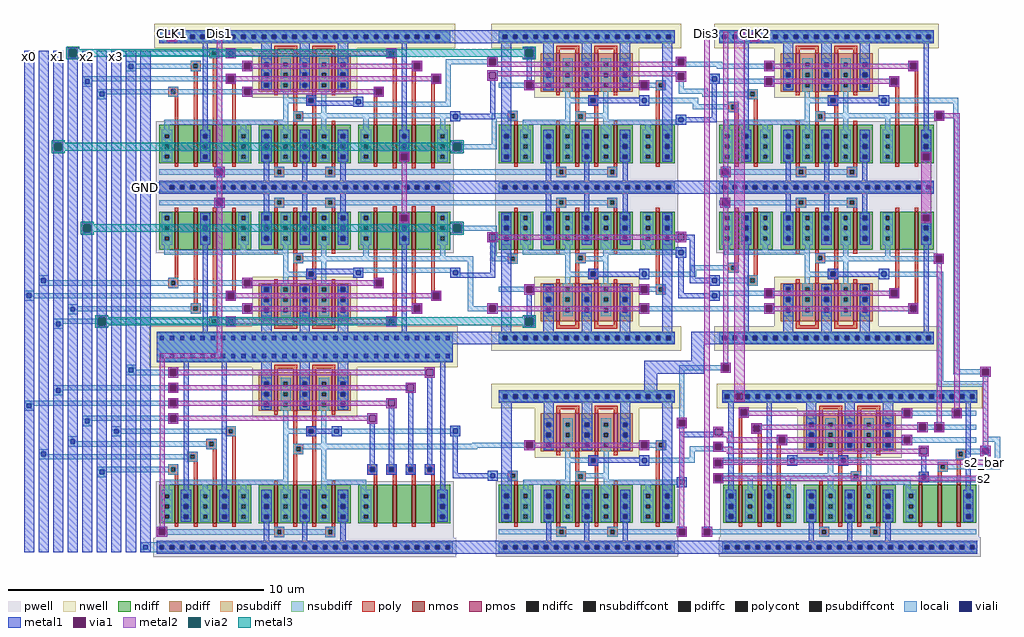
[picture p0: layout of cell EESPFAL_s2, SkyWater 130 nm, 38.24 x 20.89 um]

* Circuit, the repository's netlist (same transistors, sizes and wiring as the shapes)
* NGSPICE file created from EESPFAL_s2.ext - technology: sky130A

.subckt EESPFAL_4in_NAND OUT A A_bar B B_bar C C_bar D D_bar Dis OUT_bar GND CLK
X0 OUT_bar Dis GND GND sky130_fd_pr__nfet_01v8 ad=3.6e+12p pd=1.68e+07u as=2.7e+12p ps=1.26e+07u w=1.5e+06u l=150000u
X1 CLK B_bar OUT_bar GND sky130_fd_pr__nfet_01v8 ad=8.5e+12p pd=3.68e+07u as=0p ps=0u w=1.5e+06u l=150000u
X2 a_n1040_180# B a_n1190_180# GND sky130_fd_pr__nfet_01v8 ad=9e+11p pd=4.2e+06u as=9e+11p ps=4.2e+06u w=1.5e+06u l=150000u
X3 OUT_bar OUT CLK CLK sky130_fd_pr__pfet_01v8 ad=9e+11p pd=4.2e+06u as=2.7e+12p ps=1.26e+07u w=1.5e+06u l=150000u M=2
X4 CLK D_bar OUT_bar GND sky130_fd_pr__nfet_01v8 ad=0p pd=0u as=0p ps=0u w=1.5e+06u l=150000u
X5 OUT OUT_bar GND GND sky130_fd_pr__nfet_01v8 ad=1.8e+12p pd=8.4e+06u as=0p ps=0u w=1.5e+06u l=150000u
X6 a_n1340_180# D OUT GND sky130_fd_pr__nfet_01v8 ad=9e+11p pd=4.2e+06u as=0p ps=0u w=1.5e+06u l=150000u
X7 OUT_bar A_bar CLK GND sky130_fd_pr__nfet_01v8 ad=0p pd=0u as=0p ps=0u w=1.5e+06u l=150000u
X8 OUT_bar C_bar CLK GND sky130_fd_pr__nfet_01v8 ad=0p pd=0u as=0p ps=0u w=1.5e+06u l=150000u
X9 GND Dis OUT GND sky130_fd_pr__nfet_01v8 ad=0p pd=0u as=0p ps=0u w=1.5e+06u l=150000u
X10 OUT OUT_bar CLK CLK sky130_fd_pr__pfet_01v8 ad=9e+11p pd=4.2e+06u as=0p ps=0u w=1.5e+06u l=150000u M=2
X11 GND OUT OUT_bar GND sky130_fd_pr__nfet_01v8 ad=0p pd=0u as=0p ps=0u w=1.5e+06u l=150000u
X12 CLK A a_n1040_180# GND sky130_fd_pr__nfet_01v8 ad=0p pd=0u as=0p ps=0u w=1.5e+06u l=150000u
X13 a_n1190_180# C a_n1340_180# GND sky130_fd_pr__nfet_01v8 ad=0p pd=0u as=0p ps=0u w=1.5e+06u l=150000u
.ends

.subckt EESPFAL_INV4 OUT_bar A A_bar Dis OUT GND CLK
X0 OUT A_bar CLK GND sky130_fd_pr__nfet_01v8 ad=1.8e+12p pd=8.4e+06u as=5.25e+12p ps=2.32e+07u w=1.5e+06u l=150000u
X1 CLK OUT OUT_bar CLK sky130_fd_pr__pfet_01v8 ad=2.7e+12p pd=1.26e+07u as=9e+11p ps=4.2e+06u w=1.5e+06u l=150000u M=2
X2 GND Dis OUT_bar GND sky130_fd_pr__nfet_01v8 ad=2.7e+12p pd=1.26e+07u as=1.8e+12p ps=8.4e+06u w=1.5e+06u l=150000u
X3 GND OUT_bar OUT GND sky130_fd_pr__nfet_01v8 ad=0p pd=0u as=0p ps=0u w=1.5e+06u l=150000u
X4 CLK OUT_bar OUT CLK sky130_fd_pr__pfet_01v8 ad=0p pd=0u as=9e+11p ps=4.2e+06u w=1.5e+06u l=150000u M=2
X5 OUT_bar OUT GND GND sky130_fd_pr__nfet_01v8 ad=0p pd=0u as=0p ps=0u w=1.5e+06u l=150000u
X6 CLK A OUT_bar GND sky130_fd_pr__nfet_01v8 ad=0p pd=0u as=0p ps=0u w=1.5e+06u l=150000u
X7 OUT Dis GND GND sky130_fd_pr__nfet_01v8 ad=0p pd=0u as=0p ps=0u w=1.5e+06u l=150000u
.ends

.subckt EESPFAL_XOR_v3 OUT A A_bar B B_bar Dis OUT_bar GND CLK
X0 CLK OUT OUT_bar CLK sky130_fd_pr__pfet_01v8 ad=2.7e+12p pd=1.26e+07u as=9e+11p ps=4.2e+06u w=1.5e+06u l=150000u M=2
X1 OUT_bar Dis GND GND sky130_fd_pr__nfet_01v8 ad=2.7e+12p pd=1.26e+07u as=2.7e+12p ps=1.26e+07u w=1.5e+06u l=150000u
X2 a_n840_410# A CLK GND sky130_fd_pr__nfet_01v8 ad=9e+11p pd=4.2e+06u as=7.5e+12p ps=3.22e+07u w=1.5e+06u l=150000u
X3 a_n1140_410# B_bar OUT_bar GND sky130_fd_pr__nfet_01v8 ad=9e+11p pd=4.2e+06u as=0p ps=0u w=1.5e+06u l=150000u
X4 a_420_410# B_bar OUT GND sky130_fd_pr__nfet_01v8 ad=9e+11p pd=4.2e+06u as=2.7e+12p ps=1.26e+07u w=1.5e+06u l=150000u
X5 GND Dis OUT GND sky130_fd_pr__nfet_01v8 ad=0p pd=0u as=0p ps=0u w=1.5e+06u l=150000u
X6 OUT OUT_bar CLK CLK sky130_fd_pr__pfet_01v8 ad=9e+11p pd=4.2e+06u as=0p ps=0u w=1.5e+06u l=150000u M=2
X7 a_720_410# A_bar CLK GND sky130_fd_pr__nfet_01v8 ad=9e+11p pd=4.2e+06u as=0p ps=0u w=1.5e+06u l=150000u
X8 OUT_bar B a_n840_410# GND sky130_fd_pr__nfet_01v8 ad=0p pd=0u as=0p ps=0u w=1.5e+06u l=150000u
X9 GND OUT OUT_bar GND sky130_fd_pr__nfet_01v8 ad=0p pd=0u as=0p ps=0u w=1.5e+06u l=150000u
X10 CLK A_bar a_n1140_410# GND sky130_fd_pr__nfet_01v8 ad=0p pd=0u as=0p ps=0u w=1.5e+06u l=150000u
X11 OUT OUT_bar GND GND sky130_fd_pr__nfet_01v8 ad=0p pd=0u as=0p ps=0u w=1.5e+06u l=150000u
X12 CLK A a_420_410# GND sky130_fd_pr__nfet_01v8 ad=0p pd=0u as=0p ps=0u w=1.5e+06u l=150000u
X13 OUT B a_720_410# GND sky130_fd_pr__nfet_01v8 ad=0p pd=0u as=0p ps=0u w=1.5e+06u l=150000u
.ends

.subckt EESPFAL_3in_NOR_v2 OUT A A_bar B B_bar C C_bar Dis OUT_bar GND CLK
X0 CLK OUT_bar OUT CLK sky130_fd_pr__pfet_01v8 ad=2.7e+12p pd=1.26e+07u as=9e+11p ps=4.2e+06u w=1.5e+06u l=150000u M=2
X1 OUT B CLK GND sky130_fd_pr__nfet_01v8 ad=2.7e+12p pd=1.26e+07u as=7.7e+12p ps=3.36e+07u w=1.5e+06u l=150000u
X2 OUT_bar OUT CLK CLK sky130_fd_pr__pfet_01v8 ad=9e+11p pd=4.2e+06u as=0p ps=0u w=1.5e+06u l=150000u M=2
X3 a_n1990_570# B_bar a_n2140_570# GND sky130_fd_pr__nfet_01v8 ad=9e+11p pd=4.2e+06u as=9e+11p ps=4.2e+06u w=1.5e+06u l=150000u
X4 CLK A OUT GND sky130_fd_pr__nfet_01v8 ad=0p pd=0u as=0p ps=0u w=1.5e+06u l=150000u
X5 OUT OUT_bar GND GND sky130_fd_pr__nfet_01v8 ad=0p pd=0u as=2.7e+12p ps=1.26e+07u w=1.5e+06u l=150000u
X6 CLK C OUT GND sky130_fd_pr__nfet_01v8 ad=0p pd=0u as=0p ps=0u w=1.5e+06u l=150000u
X7 OUT_bar Dis GND GND sky130_fd_pr__nfet_01v8 ad=1.8e+12p pd=8.4e+06u as=0p ps=0u w=1.5e+06u l=150000u
X8 a_n2140_570# A_bar CLK GND sky130_fd_pr__nfet_01v8 ad=0p pd=0u as=0p ps=0u w=1.5e+06u l=150000u
X9 GND Dis OUT GND sky130_fd_pr__nfet_01v8 ad=0p pd=0u as=0p ps=0u w=1.5e+06u l=150000u
X10 OUT_bar C_bar a_n1990_570# GND sky130_fd_pr__nfet_01v8 ad=0p pd=0u as=0p ps=0u w=1.5e+06u l=150000u
X11 GND OUT OUT_bar GND sky130_fd_pr__nfet_01v8 ad=0p pd=0u as=0p ps=0u w=1.5e+06u l=150000u
.ends

.subckt EESPFAL_NAND_v3 OUT A A_bar B B_bar Dis OUT_bar GND CLK
X0 CLK OUT_bar OUT CLK sky130_fd_pr__pfet_01v8 ad=2.7e+12p pd=1.26e+07u as=9e+11p ps=4.2e+06u w=1.5e+06u l=150000u M=2
X1 CLK A a_n2940_320# GND sky130_fd_pr__nfet_01v8 ad=6e+12p pd=2.62e+07u as=9e+11p ps=4.2e+06u w=1.5e+06u l=150000u
X2 CLK OUT OUT_bar CLK sky130_fd_pr__pfet_01v8 ad=0p pd=0u as=9e+11p ps=4.2e+06u w=1.5e+06u l=150000u M=2
X3 CLK B_bar OUT_bar GND sky130_fd_pr__nfet_01v8 ad=0p pd=0u as=2.7e+12p ps=1.26e+07u w=1.5e+06u l=150000u
X4 OUT OUT_bar GND GND sky130_fd_pr__nfet_01v8 ad=1.8e+12p pd=8.4e+06u as=2.7e+12p ps=1.26e+07u w=1.5e+06u l=150000u
X5 OUT_bar Dis GND GND sky130_fd_pr__nfet_01v8 ad=0p pd=0u as=0p ps=0u w=1.5e+06u l=150000u
X6 OUT_bar A_bar CLK GND sky130_fd_pr__nfet_01v8 ad=0p pd=0u as=0p ps=0u w=1.5e+06u l=150000u
X7 a_n2940_320# B OUT GND sky130_fd_pr__nfet_01v8 ad=0p pd=0u as=0p ps=0u w=1.5e+06u l=150000u
X8 GND Dis OUT GND sky130_fd_pr__nfet_01v8 ad=0p pd=0u as=0p ps=0u w=1.5e+06u l=150000u
X9 GND OUT OUT_bar GND sky130_fd_pr__nfet_01v8 ad=0p pd=0u as=0p ps=0u w=1.5e+06u l=150000u
.ends

.subckt EESPFAL_s2 GND x0 x0_bar x1 x1_bar x2 x2_bar x3 x3_bar CLK1 Dis1 Dis3 Dis2
+ CLK3 CLK2 s2_bar s2
XEESPFAL_4in_NAND_0 EESPFAL_INV4_2/A x3_bar x3 x1 x1_bar x0 x0_bar x2 x2_bar Dis1
+ EESPFAL_INV4_2/A_bar GND CLK1 EESPFAL_4in_NAND
XEESPFAL_INV4_1 EESPFAL_NAND_v3_1/B x1_bar x1 Dis1 EESPFAL_INV4_1/OUT GND CLK1 EESPFAL_INV4
XEESPFAL_INV4_0 EESPFAL_NAND_v3_0/B x2_bar x2 Dis1 EESPFAL_INV4_0/OUT GND CLK1 EESPFAL_INV4
XEESPFAL_INV4_2 EESPFAL_INV4_2/OUT_bar EESPFAL_INV4_2/A EESPFAL_INV4_2/A_bar Dis2
+ EESPFAL_INV4_2/OUT GND CLK2 EESPFAL_INV4
XEESPFAL_XOR_v3_0 EESPFAL_XOR_v3_0/OUT x3 x3_bar x2 x2_bar Dis1 EESPFAL_NAND_v3_1/A
+ GND CLK1 EESPFAL_XOR_v3
XEESPFAL_XOR_v3_1 EESPFAL_NAND_v3_0/A x1 x1_bar x0 x0_bar Dis1 EESPFAL_NAND_v3_0/A_bar
+ GND CLK1 EESPFAL_XOR_v3
XEESPFAL_3in_NOR_v2_0 s2 EESPFAL_NAND_v3_1/OUT EESPFAL_NAND_v3_1/OUT_bar EESPFAL_NAND_v3_0/OUT
+ EESPFAL_NAND_v3_0/OUT_bar EESPFAL_INV4_2/OUT_bar EESPFAL_INV4_2/OUT Dis3 s2_bar
+ GND CLK3 EESPFAL_3in_NOR_v2
XEESPFAL_NAND_v3_0 EESPFAL_NAND_v3_0/OUT EESPFAL_NAND_v3_0/A EESPFAL_NAND_v3_0/A_bar
+ EESPFAL_NAND_v3_0/B EESPFAL_INV4_0/OUT Dis2 EESPFAL_NAND_v3_0/OUT_bar GND CLK2 EESPFAL_NAND_v3
XEESPFAL_NAND_v3_1 EESPFAL_NAND_v3_1/OUT EESPFAL_NAND_v3_1/A EESPFAL_XOR_v3_0/OUT
+ EESPFAL_NAND_v3_1/B EESPFAL_INV4_1/OUT Dis2 EESPFAL_NAND_v3_1/OUT_bar GND CLK2 EESPFAL_NAND_v3
.ends

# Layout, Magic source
magic
tech sky130A
magscale 1 2
<< nwell >>
rect -145 -1387 2275 -1066
<< nsubdiff >>
rect -85 -1139 2235 -1106
rect -85 -1173 -62 -1139
rect -28 -1173 2178 -1139
rect 2212 -1173 2235 -1139
rect -85 -1347 2235 -1173
<< nsubdiffcont >>
rect -62 -1173 -28 -1139
rect 2178 -1173 2212 -1139
<< locali >>
rect -361 1054 -65 1094
rect -247 954 -65 994
rect 2179 988 2507 1028
rect -589 854 101 894
rect -475 754 101 794
rect 2179 654 2219 988
rect 4063 968 4345 1008
rect 4305 954 4345 968
rect 4004 798 4044 853
rect 4004 774 4231 798
rect 4004 758 4325 774
rect 4191 734 4325 758
rect 3975 684 4157 724
rect 6002 684 6197 724
rect 4117 674 4157 684
rect 4117 634 4325 674
rect 2541 564 2595 604
rect 6002 564 6008 604
rect 2229 361 2309 381
rect 2541 361 2581 564
rect 3975 514 3983 554
rect 2229 359 2581 361
rect 2229 325 2252 359
rect 2286 325 2581 359
rect 2229 321 2581 325
rect 2229 301 2309 321
rect 1315 124 2595 164
rect -133 -16 -65 64
rect 1315 -116 2595 -76
rect 2229 -276 2309 -257
rect 2229 -279 2581 -276
rect 2229 -313 2252 -279
rect 2286 -313 2581 -279
rect 2229 -316 2581 -313
rect 2229 -337 2309 -316
rect 2541 -516 2581 -316
rect 3975 -506 3983 -466
rect 2215 -556 2394 -516
rect 2541 -556 2595 -516
rect 6005 -556 6008 -516
rect -931 -746 -65 -706
rect -1046 -846 -65 -806
rect 2354 -906 2394 -556
rect 4104 -626 4325 -586
rect 4104 -636 4144 -626
rect 3975 -676 4144 -636
rect 6002 -676 6079 -636
rect -703 -946 -65 -906
rect 2354 -946 2507 -906
rect 3775 -946 4325 -906
rect -817 -1046 -65 -1006
rect -85 -1139 2235 -1116
rect -85 -1173 -62 -1139
rect -28 -1173 2178 -1139
rect 2212 -1173 2235 -1139
rect -85 -1337 2235 -1173
rect -247 -1447 -65 -1407
rect 4010 -1410 4333 -1370
rect -818 -1567 -65 -1527
rect -1045 -1687 -65 -1647
rect -589 -1807 -65 -1767
rect 4010 -1783 4050 -1410
rect 6039 -1497 6079 -676
rect 6157 -1402 6197 684
rect 6157 -1442 6437 -1402
rect 6039 -1537 6429 -1497
rect -361 -1907 -65 -1867
rect 6389 -1929 6429 -1537
rect -703 -2007 -65 -1967
rect 6389 -1969 6523 -1929
rect 2388 -1987 2596 -1976
rect 2215 -2016 2596 -1987
rect 2215 -2027 2428 -2016
rect 4090 -2044 4275 -2004
rect -931 -2107 -65 -2067
rect 4090 -2096 4130 -2044
rect 6335 -2066 6369 -2026
rect 3976 -2136 4130 -2096
rect 6483 -2146 6523 -1969
rect -475 -2207 -65 -2167
rect 6335 -2186 6523 -2146
rect 2588 -2256 2596 -2216
rect 3976 -2306 3990 -2266
rect 3526 -2696 3990 -2656
rect 4267 -2696 5105 -2656
rect -133 -2837 -85 -2757
<< viali >>
rect 2252 325 2286 359
rect 2252 -313 2286 -279
rect -62 -1173 -28 -1139
rect 2178 -1173 2212 -1139
<< metal1 >>
rect 2215 1154 2595 1254
rect -1125 -2836 -1045 1094
rect -1011 -2836 -931 1094
rect -897 -2837 -817 1094
rect -783 -2837 -703 1094
rect -669 -2837 -589 1094
rect -555 -2837 -475 1094
rect -441 -2837 -361 1094
rect -327 -2837 -247 1094
rect -213 -2837 -133 1094
rect 2815 864 2855 1036
rect 2527 599 2567 860
rect 2294 559 2567 599
rect 4265 574 4305 834
rect 4055 534 4305 574
rect 2214 -26 2595 74
rect 3975 -26 4325 74
rect 4063 -386 4131 -346
rect 2527 -646 2567 -407
rect 2295 -686 2567 -646
rect 4003 -806 4043 -526
rect 4091 -686 4131 -386
rect 4091 -726 4245 -686
rect 2815 -988 2855 -816
rect 4003 -846 4245 -806
rect -85 -1139 2595 -1106
rect -85 -1173 -62 -1139
rect -28 -1173 2178 -1139
rect 2212 -1173 2595 -1139
rect -85 -1206 2595 -1173
rect 4105 -1206 4325 -1106
rect -85 -1347 2235 -1206
rect 4105 -1336 4205 -1206
rect 3736 -1436 4205 -1336
rect 3736 -1566 3836 -1436
rect 2235 -2216 2275 -1926
rect 4010 -1933 4275 -1893
rect 2235 -2256 2508 -2216
rect 4010 -2246 4050 -1933
rect 5905 -2206 5945 -2083
rect 2235 -2846 2596 -2746
rect 3976 -2846 4345 -2746
<< metal2 >>
rect 16 1201 56 1244
rect 387 -1276 427 1244
rect 2587 968 3983 1008
rect 2587 893 3983 933
rect 1835 -176 1875 224
rect 2586 -386 3983 -346
rect 2587 -946 3695 -906
rect -63 -1316 427 -1276
rect -63 -2636 -23 -1316
rect 4010 -2636 4050 -1863
rect 4207 -2636 4247 1244
rect 4353 -1350 4393 1244
rect 4441 -1576 4521 1244
rect 4585 1198 4625 1244
rect 6088 564 6206 604
rect 5905 -176 5985 224
rect 6028 -1817 6068 -576
rect 6166 -1706 6206 564
rect 4355 -1933 4423 -1893
rect 4383 -1936 4423 -1933
rect 4383 -1976 4775 -1936
rect 4355 -2024 4423 -2008
rect 4355 -2048 5885 -2024
rect 4383 -2064 5885 -2048
rect 6389 -2066 6429 -1462
rect 4355 -2151 6426 -2111
rect 4355 -2276 6426 -2236
<< metal3 >>
rect -693 1046 2785 1106
rect -807 312 2219 372
rect -579 -326 2219 -266
rect -465 -1056 2785 -996
use EESPFAL_3in_NOR_v2  EESPFAL_3in_NOR_v2_0
transform -1 0 4045 0 1 -3176
box -2340 304 -260 1660
use EESPFAL_4in_NAND  EESPFAL_4in_NAND_0
transform 1 0 2985 0 1 -2787
box -3110 -86 -710 1590
use EESPFAL_INV4  EESPFAL_INV4_0
transform 1 0 5925 0 1 -646
box -3390 594 -1900 1950
use EESPFAL_INV4  EESPFAL_INV4_1
transform 1 0 5926 0 1 -3466
box -3390 594 -1900 1950
use EESPFAL_INV4  EESPFAL_INV4_2
transform 1 0 5925 0 -1 694
box -3390 594 -1900 1950
use EESPFAL_NAND_v3  EESPFAL_NAND_v3_0
transform 1 0 5233 0 1 628
box -949 -680 811 676
use EESPFAL_NAND_v3  EESPFAL_NAND_v3_1
transform 1 0 5233 0 -1 -580
box -949 -680 811 676
use EESPFAL_XOR_v3  EESPFAL_XOR_v3_0
transform 1 0 1225 0 1 -196
box -1330 144 1030 1500
use EESPFAL_XOR_v3  EESPFAL_XOR_v3_1
transform 1 0 1225 0 -1 244
box -1330 144 1030 1500
use Li_via_M1  Li_via_M1_0
transform 1 0 4285 0 1 872
box -40 -38 40 42
use Li_via_M1  Li_via_M1_1
transform 1 0 4023 0 1 552
box -40 -38 40 42
use Li_via_M1  Li_via_M1_2
transform 1 0 2255 0 1 578
box -40 -38 40 42
use Li_via_M1  Li_via_M1_3
transform 1 0 -401 0 1 1052
box -40 -38 40 42
use Li_via_M1  Li_via_M1_4
transform 1 0 -287 0 1 970
box -40 -38 40 42
use Li_via_M1  Li_via_M1_5
transform 1 0 -629 0 1 852
box -40 -38 40 42
use Li_via_M1  Li_via_M1_6
transform 1 0 -515 0 1 752
box -40 -38 40 42
use Li_via_M1  Li_via_M1_7
transform 1 0 4285 0 1 -708
box -40 -38 40 42
use Li_via_M1  Li_via_M1_8
transform 1 0 4023 0 1 -488
box -40 -38 40 42
use Li_via_M1  Li_via_M1_9
transform 1 0 4285 0 1 -828
box -40 -38 40 42
use Li_via_M1  Li_via_M1_10
transform 1 0 2255 0 1 -648
box -40 -38 40 42
use Li_via_M1  Li_via_M1_11
transform 1 0 -173 0 1 22
box -40 -38 40 42
use Li_via_M1  Li_via_M1_12
transform 1 0 -743 0 1 -934
box -40 -38 40 42
use Li_via_M1  Li_via_M1_13
transform 1 0 -857 0 1 -1048
box -40 -38 40 42
use Li_via_M1  Li_via_M1_14
transform 1 0 -1085 0 1 -827
box -40 -38 40 42
use Li_via_M1  Li_via_M1_15
transform 1 0 -971 0 1 -708
box -40 -38 40 42
use Li_via_M1  Li_via_M1_16
transform 1 0 5925 0 1 -2248
box -40 -38 40 42
use Li_via_M1  Li_via_M1_17
transform 1 0 4030 0 1 -2288
box -40 -38 40 42
use Li_via_M1  Li_via_M1_18
transform 1 0 2255 0 1 -1888
box -40 -38 40 42
use Li_via_M1  Li_via_M1_19
transform 1 0 2548 0 1 -2238
box -40 -38 40 42
use Li_via_M1  Li_via_M1_20
transform 1 0 -629 0 1 -1809
box -40 -38 40 42
use Li_via_M1  Li_via_M1_21
transform 1 0 -1085 0 1 -1689
box -40 -38 40 42
use Li_via_M1  Li_via_M1_22
transform 1 0 -401 0 1 -1889
box -40 -38 40 42
use Li_via_M1  Li_via_M1_23
transform 1 0 -743 0 1 -1969
box -40 -38 40 42
use Li_via_M1  Li_via_M1_24
transform 1 0 -857 0 1 -1569
box -40 -38 40 42
use Li_via_M1  Li_via_M1_25
transform 1 0 -287 0 1 -1409
box -40 -38 40 42
use Li_via_M1  Li_via_M1_26
transform 1 0 -172 0 1 -2799
box -40 -38 40 42
use Li_via_M1  Li_via_M1_27
transform 1 0 -515 0 1 -2209
box -40 -38 40 42
use Li_via_M1  Li_via_M1_28
transform 1 0 -971 0 1 -2069
box -40 -38 40 42
use Li_via_M2  Li_via_M2_0
transform 1 0 4023 0 1 1006
box -40 -38 40 42
use Li_via_M2  Li_via_M2_1
transform 1 0 4023 0 1 891
box -40 -38 40 42
use Li_via_M2  Li_via_M2_2
transform 1 0 6048 0 1 583
box -40 -38 40 42
use Li_via_M2  Li_via_M2_3
transform 1 0 2547 0 1 1006
box -40 -38 40 42
use Li_via_M2  Li_via_M2_4
transform 1 0 35 0 1 1202
box -40 -38 40 42
use Li_via_M2  Li_via_M2_5
transform 1 0 4373 0 1 142
box -40 -38 40 42
use Li_via_M2  Li_via_M2_6
transform 1 0 4371 0 1 -98
box -40 -38 40 42
use Li_via_M2  Li_via_M2_7
transform 1 0 6044 0 1 -538
box -40 -38 40 42
use Li_via_M2  Li_via_M2_8
transform 1 0 3735 0 1 -928
box -40 -38 40 42
use Li_via_M2  Li_via_M2_9
transform 1 0 2547 0 1 -928
box -40 -38 40 42
use Li_via_M2  Li_via_M2_10
transform 1 0 1855 0 1 262
box -40 -38 40 42
use Li_via_M2  Li_via_M2_11
transform 1 0 1855 0 1 -218
box -40 -38 40 42
use Li_via_M2  Li_via_M2_12
transform 1 0 407 0 1 142
box -40 -38 40 42
use Li_via_M2  Li_via_M2_13
transform 1 0 407 0 1 -98
box -40 -38 40 42
use Li_via_M2  Li_via_M2_14
transform 1 0 6409 0 1 -1424
box -40 -38 40 42
use Li_via_M2  Li_via_M2_15
transform 1 0 6409 0 1 -2045
box -40 -38 40 42
use Li_via_M2  Li_via_M2_16
transform 1 0 6185 0 1 -1748
box -40 -38 40 42
use Li_via_M2  Li_via_M2_17
transform 1 0 6047 0 1 -1859
box -40 -38 40 42
use Li_via_M2  Li_via_M2_18
transform 1 0 4373 0 1 -1392
box -40 -38 40 42
use Li_via_M2  Li_via_M2_19
transform 1 0 4030 0 1 -1825
box -40 -38 40 42
use Li_via_M2  Li_via_M2_20
transform 1 0 4030 0 1 -2678
box -40 -38 40 42
use Li_via_M2  Li_via_M2_21
transform 1 0 4227 0 1 -2678
box -40 -38 40 42
use Li_via_M2  Li_via_M2_22
transform 1 0 4315 0 1 -2010
box -40 -38 40 42
use Li_via_M2  Li_via_M2_23
transform 1 0 4315 0 1 -2258
box -40 -38 40 42
use Li_via_M2  Li_via_M2_24
transform 1 0 4315 0 1 -2138
box -40 -38 40 42
use Li_via_M2  Li_via_M2_25
transform 1 0 -44 0 1 -2676
box -40 -38 40 42
use M1_M3  M1_M3_0
transform 1 0 2895 0 1 1116
box -110 -90 -10 10
use M1_M3  M1_M3_1
transform 1 0 -683 0 1 1116
box -110 -90 -10 10
use M1_M3  M1_M3_2
transform 1 0 2329 0 1 381
box -110 -90 -10 10
use M1_M3  M1_M3_3
transform 1 0 2895 0 1 -988
box -110 -90 -10 10
use M1_M3  M1_M3_4
transform 1 0 2329 0 1 -257
box -110 -90 -10 10
use M1_M3  M1_M3_5
transform 1 0 -569 0 1 -257
box -110 -90 -10 10
use M1_M3  M1_M3_6
transform 1 0 -797 0 1 381
box -110 -90 -10 10
use M1_M3  M1_M3_7
transform 1 0 -455 0 1 -988
box -110 -90 -10 10
use M1_via_M2  M1_via_M2_0
transform 1 0 4605 0 1 1202
box -40 -38 40 42
use M1_via_M2  M1_via_M2_1
transform 1 0 2547 0 1 898
box -40 -38 40 42
use M1_via_M2  M1_via_M2_2
transform 1 0 5945 0 1 -218
box -40 -38 40 42
use M1_via_M2  M1_via_M2_3
transform 1 0 5945 0 1 262
box -40 -38 40 42
use M1_via_M2  M1_via_M2_4
transform 1 0 4023 0 1 -368
box -40 -38 40 42
use M1_via_M2  M1_via_M2_5
transform 1 0 2546 0 1 -369
box -40 -38 40 42
use M1_via_M2  M1_via_M2_6
transform 1 0 4481 0 1 -1618
box -40 -38 40 42
use M1_via_M2  M1_via_M2_7
transform 1 0 4315 0 1 -1895
box -40 -38 40 42
use M1_via_M2  M1_via_M2_8
transform 1 0 5925 0 1 -2045
box -40 -38 40 42
<< labels >>
flabel metal1 s -190 7 -156 41 2 FreeSans 2500 0 0 0 GND
port 1 nsew
flabel metal1 s -1115 1020 -1054 1080 2 FreeSans 3908 0 0 0 x0
port 2 nsew
flabel metal1 s -1002 959 -941 1019 2 FreeSans 3908 0 0 0 x0_bar
port 3 nsew
flabel metal1 s -887 1020 -826 1080 2 FreeSans 3908 0 0 0 x1
port 4 nsew
flabel metal1 s -773 959 -712 1019 2 FreeSans 3908 0 0 0 x1_bar
port 5 nsew
flabel metal1 s -659 1021 -598 1081 2 FreeSans 3908 0 0 0 x2
port 6 nsew
flabel metal1 s -546 960 -485 1020 2 FreeSans 3908 0 0 0 x2_bar
port 7 nsew
flabel metal1 s -431 1021 -370 1081 2 FreeSans 3908 0 0 0 x3
port 8 nsew
flabel metal1 s -317 960 -256 1020 2 FreeSans 3908 0 0 0 x3_bar
port 9 nsew
flabel metal2 s 26 1219 46 1239 2 FreeSans 2500 0 0 0 CLK1
port 10 nsew
flabel metal2 s 397 1216 417 1236 2 FreeSans 2500 0 0 0 Dis1
port 11 nsew
flabel metal2 s 4217 1218 4237 1238 2 FreeSans 2500 0 0 0 Dis3
port 12 nsew
flabel metal2 s 4363 1218 4383 1238 2 FreeSans 2500 0 0 0 Dis2
port 13 nsew
flabel metal2 s 4451 1218 4471 1238 2 FreeSans 2500 0 0 0 CLK3
port 14 nsew
flabel metal2 s 4595 1218 4615 1238 2 FreeSans 2500 0 0 0 CLK2
port 15 nsew
flabel metal2 s 6395 -2141 6415 -2121 2 FreeSans 2500 0 0 0 s2_bar
port 16 nsew
flabel metal2 s 6395 -2267 6415 -2247 2 FreeSans 2500 0 0 0 s2
port 17 nsew
<< end >>

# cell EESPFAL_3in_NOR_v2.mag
magic
tech sky130A
magscale 1 2
<< nwell >>
rect -2340 1470 -260 1660
rect -1710 1080 -890 1470
<< pwell >>
rect -2316 456 -284 896
rect -2326 304 -274 456
<< nmos >>
rect -2170 570 -2140 870
rect -2020 570 -1990 870
rect -1870 570 -1840 870
rect -1540 570 -1510 870
rect -1390 570 -1360 870
rect -1240 570 -1210 870
rect -1090 570 -1060 870
rect -760 570 -730 870
rect -610 570 -580 870
rect -460 570 -430 870
<< pmos >>
rect -1540 1130 -1510 1430
rect -1390 1130 -1360 1430
rect -1240 1130 -1210 1430
rect -1090 1130 -1060 1430
<< ndiff >>
rect -2290 797 -2170 870
rect -2290 763 -2247 797
rect -2213 763 -2170 797
rect -2290 717 -2170 763
rect -2290 683 -2247 717
rect -2213 683 -2170 717
rect -2290 637 -2170 683
rect -2290 603 -2247 637
rect -2213 603 -2170 637
rect -2290 570 -2170 603
rect -2140 570 -2020 870
rect -1990 570 -1870 870
rect -1840 797 -1720 870
rect -1840 763 -1797 797
rect -1763 763 -1720 797
rect -1840 717 -1720 763
rect -1840 683 -1797 717
rect -1763 683 -1720 717
rect -1840 637 -1720 683
rect -1840 603 -1797 637
rect -1763 603 -1720 637
rect -1840 570 -1720 603
rect -1660 797 -1540 870
rect -1660 763 -1617 797
rect -1583 763 -1540 797
rect -1660 717 -1540 763
rect -1660 683 -1617 717
rect -1583 683 -1540 717
rect -1660 637 -1540 683
rect -1660 603 -1617 637
rect -1583 603 -1540 637
rect -1660 570 -1540 603
rect -1510 797 -1390 870
rect -1510 763 -1467 797
rect -1433 763 -1390 797
rect -1510 717 -1390 763
rect -1510 683 -1467 717
rect -1433 683 -1390 717
rect -1510 637 -1390 683
rect -1510 603 -1467 637
rect -1433 603 -1390 637
rect -1510 570 -1390 603
rect -1360 797 -1240 870
rect -1360 763 -1317 797
rect -1283 763 -1240 797
rect -1360 717 -1240 763
rect -1360 683 -1317 717
rect -1283 683 -1240 717
rect -1360 637 -1240 683
rect -1360 603 -1317 637
rect -1283 603 -1240 637
rect -1360 570 -1240 603
rect -1210 797 -1090 870
rect -1210 763 -1167 797
rect -1133 763 -1090 797
rect -1210 717 -1090 763
rect -1210 683 -1167 717
rect -1133 683 -1090 717
rect -1210 637 -1090 683
rect -1210 603 -1167 637
rect -1133 603 -1090 637
rect -1210 570 -1090 603
rect -1060 797 -940 870
rect -1060 763 -1017 797
rect -983 763 -940 797
rect -1060 717 -940 763
rect -1060 683 -1017 717
rect -983 683 -940 717
rect -1060 637 -940 683
rect -1060 603 -1017 637
rect -983 603 -940 637
rect -1060 570 -940 603
rect -880 797 -760 870
rect -880 763 -837 797
rect -803 763 -760 797
rect -880 717 -760 763
rect -880 683 -837 717
rect -803 683 -760 717
rect -880 637 -760 683
rect -880 603 -837 637
rect -803 603 -760 637
rect -880 570 -760 603
rect -730 797 -610 870
rect -730 763 -687 797
rect -653 763 -610 797
rect -730 717 -610 763
rect -730 683 -687 717
rect -653 683 -610 717
rect -730 637 -610 683
rect -730 603 -687 637
rect -653 603 -610 637
rect -730 570 -610 603
rect -580 797 -460 870
rect -580 763 -537 797
rect -503 763 -460 797
rect -580 717 -460 763
rect -580 683 -537 717
rect -503 683 -460 717
rect -580 637 -460 683
rect -580 603 -537 637
rect -503 603 -460 637
rect -580 570 -460 603
rect -430 797 -310 870
rect -430 763 -387 797
rect -353 763 -310 797
rect -430 717 -310 763
rect -430 683 -387 717
rect -353 683 -310 717
rect -430 637 -310 683
rect -430 603 -387 637
rect -353 603 -310 637
rect -430 570 -310 603
<< pdiff >>
rect -1660 1357 -1540 1430
rect -1660 1323 -1617 1357
rect -1583 1323 -1540 1357
rect -1660 1277 -1540 1323
rect -1660 1243 -1617 1277
rect -1583 1243 -1540 1277
rect -1660 1197 -1540 1243
rect -1660 1163 -1617 1197
rect -1583 1163 -1540 1197
rect -1660 1130 -1540 1163
rect -1510 1357 -1390 1430
rect -1510 1323 -1467 1357
rect -1433 1323 -1390 1357
rect -1510 1277 -1390 1323
rect -1510 1243 -1467 1277
rect -1433 1243 -1390 1277
rect -1510 1197 -1390 1243
rect -1510 1163 -1467 1197
rect -1433 1163 -1390 1197
rect -1510 1130 -1390 1163
rect -1360 1357 -1240 1430
rect -1360 1323 -1317 1357
rect -1283 1323 -1240 1357
rect -1360 1277 -1240 1323
rect -1360 1243 -1317 1277
rect -1283 1243 -1240 1277
rect -1360 1197 -1240 1243
rect -1360 1163 -1317 1197
rect -1283 1163 -1240 1197
rect -1360 1130 -1240 1163
rect -1210 1357 -1090 1430
rect -1210 1323 -1167 1357
rect -1133 1323 -1090 1357
rect -1210 1277 -1090 1323
rect -1210 1243 -1167 1277
rect -1133 1243 -1090 1277
rect -1210 1197 -1090 1243
rect -1210 1163 -1167 1197
rect -1133 1163 -1090 1197
rect -1210 1130 -1090 1163
rect -1060 1357 -940 1430
rect -1060 1323 -1017 1357
rect -983 1323 -940 1357
rect -1060 1277 -940 1323
rect -1060 1243 -1017 1277
rect -983 1243 -940 1277
rect -1060 1197 -940 1243
rect -1060 1163 -1017 1197
rect -983 1163 -940 1197
rect -1060 1130 -940 1163
<< ndiffc >>
rect -2247 763 -2213 797
rect -2247 683 -2213 717
rect -2247 603 -2213 637
rect -1797 763 -1763 797
rect -1797 683 -1763 717
rect -1797 603 -1763 637
rect -1617 763 -1583 797
rect -1617 683 -1583 717
rect -1617 603 -1583 637
rect -1467 763 -1433 797
rect -1467 683 -1433 717
rect -1467 603 -1433 637
rect -1317 763 -1283 797
rect -1317 683 -1283 717
rect -1317 603 -1283 637
rect -1167 763 -1133 797
rect -1167 683 -1133 717
rect -1167 603 -1133 637
rect -1017 763 -983 797
rect -1017 683 -983 717
rect -1017 603 -983 637
rect -837 763 -803 797
rect -837 683 -803 717
rect -837 603 -803 637
rect -687 763 -653 797
rect -687 683 -653 717
rect -687 603 -653 637
rect -537 763 -503 797
rect -537 683 -503 717
rect -537 603 -503 637
rect -387 763 -353 797
rect -387 683 -353 717
rect -387 603 -353 637
<< pdiffc >>
rect -1617 1323 -1583 1357
rect -1617 1243 -1583 1277
rect -1617 1163 -1583 1197
rect -1467 1323 -1433 1357
rect -1467 1243 -1433 1277
rect -1467 1163 -1433 1197
rect -1317 1323 -1283 1357
rect -1317 1243 -1283 1277
rect -1317 1163 -1283 1197
rect -1167 1323 -1133 1357
rect -1167 1243 -1133 1277
rect -1167 1163 -1133 1197
rect -1017 1323 -983 1357
rect -1017 1243 -983 1277
rect -1017 1163 -983 1197
<< psubdiff >>
rect -2300 397 -300 430
rect -2300 363 -2277 397
rect -2243 363 -2197 397
rect -2163 363 -2117 397
rect -2083 363 -2037 397
rect -2003 363 -1957 397
rect -1923 363 -1877 397
rect -1843 363 -1797 397
rect -1763 363 -1717 397
rect -1683 363 -1637 397
rect -1603 363 -1557 397
rect -1523 363 -1477 397
rect -1443 363 -1397 397
rect -1363 363 -1317 397
rect -1283 363 -1237 397
rect -1203 363 -1157 397
rect -1123 363 -1077 397
rect -1043 363 -997 397
rect -963 363 -917 397
rect -883 363 -837 397
rect -803 363 -757 397
rect -723 363 -677 397
rect -643 363 -597 397
rect -563 363 -517 397
rect -483 363 -437 397
rect -403 363 -357 397
rect -323 363 -300 397
rect -2300 330 -300 363
<< nsubdiff >>
rect -2300 1577 -300 1610
rect -2300 1543 -2277 1577
rect -2243 1543 -2197 1577
rect -2163 1543 -2117 1577
rect -2083 1543 -2037 1577
rect -2003 1543 -1957 1577
rect -1923 1543 -1877 1577
rect -1843 1543 -1797 1577
rect -1763 1543 -1717 1577
rect -1683 1543 -1637 1577
rect -1603 1543 -1557 1577
rect -1523 1543 -1477 1577
rect -1443 1543 -1397 1577
rect -1363 1543 -1317 1577
rect -1283 1543 -1237 1577
rect -1203 1543 -1157 1577
rect -1123 1543 -1077 1577
rect -1043 1543 -997 1577
rect -963 1543 -917 1577
rect -883 1543 -837 1577
rect -803 1543 -757 1577
rect -723 1543 -677 1577
rect -643 1543 -597 1577
rect -563 1543 -517 1577
rect -483 1543 -437 1577
rect -403 1543 -357 1577
rect -323 1543 -300 1577
rect -2300 1510 -300 1543
<< psubdiffcont >>
rect -2277 363 -2243 397
rect -2197 363 -2163 397
rect -2117 363 -2083 397
rect -2037 363 -2003 397
rect -1957 363 -1923 397
rect -1877 363 -1843 397
rect -1797 363 -1763 397
rect -1717 363 -1683 397
rect -1637 363 -1603 397
rect -1557 363 -1523 397
rect -1477 363 -1443 397
rect -1397 363 -1363 397
rect -1317 363 -1283 397
rect -1237 363 -1203 397
rect -1157 363 -1123 397
rect -1077 363 -1043 397
rect -997 363 -963 397
rect -917 363 -883 397
rect -837 363 -803 397
rect -757 363 -723 397
rect -677 363 -643 397
rect -597 363 -563 397
rect -517 363 -483 397
rect -437 363 -403 397
rect -357 363 -323 397
<< nsubdiffcont >>
rect -2277 1543 -2243 1577
rect -2197 1543 -2163 1577
rect -2117 1543 -2083 1577
rect -2037 1543 -2003 1577
rect -1957 1543 -1923 1577
rect -1877 1543 -1843 1577
rect -1797 1543 -1763 1577
rect -1717 1543 -1683 1577
rect -1637 1543 -1603 1577
rect -1557 1543 -1523 1577
rect -1477 1543 -1443 1577
rect -1397 1543 -1363 1577
rect -1317 1543 -1283 1577
rect -1237 1543 -1203 1577
rect -1157 1543 -1123 1577
rect -1077 1543 -1043 1577
rect -997 1543 -963 1577
rect -917 1543 -883 1577
rect -837 1543 -803 1577
rect -757 1543 -723 1577
rect -677 1543 -643 1577
rect -597 1543 -563 1577
rect -517 1543 -483 1577
rect -437 1543 -403 1577
rect -357 1543 -323 1577
<< poly >>
rect -1540 1460 -1360 1490
rect -1540 1430 -1510 1460
rect -1390 1430 -1360 1460
rect -1240 1460 -1060 1490
rect -1240 1430 -1210 1460
rect -1090 1430 -1060 1460
rect -510 1452 -430 1475
rect -2210 1127 -2130 1150
rect -510 1418 -487 1452
rect -453 1418 -430 1452
rect -510 1395 -430 1418
rect -610 1327 -530 1350
rect -610 1293 -587 1327
rect -553 1293 -530 1327
rect -610 1270 -530 1293
rect -810 1237 -730 1260
rect -810 1203 -787 1237
rect -753 1203 -730 1237
rect -810 1180 -730 1203
rect -2210 1093 -2187 1127
rect -2153 1093 -2130 1127
rect -1540 1100 -1510 1130
rect -2210 1070 -2130 1093
rect -2170 870 -2140 1070
rect -2070 1027 -1990 1050
rect -2070 993 -2047 1027
rect -2013 993 -1990 1027
rect -2070 970 -1990 993
rect -1390 975 -1360 1130
rect -1240 1100 -1210 1130
rect -1090 1100 -1060 1130
rect -1290 1077 -1210 1100
rect -1290 1043 -1267 1077
rect -1233 1043 -1210 1077
rect -1290 1020 -1210 1043
rect -2020 870 -1990 970
rect -1920 947 -1840 970
rect -1920 913 -1897 947
rect -1863 913 -1840 947
rect -1920 890 -1840 913
rect -1390 952 -1310 975
rect -1390 918 -1367 952
rect -1333 918 -1310 952
rect -1870 870 -1840 890
rect -1540 870 -1510 900
rect -1390 895 -1310 918
rect -1390 870 -1360 895
rect -1240 870 -1210 1020
rect -1090 870 -1060 900
rect -760 870 -730 1180
rect -610 870 -580 1270
rect -460 870 -430 1395
rect -2170 540 -2140 570
rect -2020 540 -1990 570
rect -1870 540 -1840 570
rect -1540 540 -1510 570
rect -1390 540 -1360 570
rect -1240 540 -1210 570
rect -1090 540 -1060 570
rect -760 540 -730 570
rect -610 540 -580 570
rect -460 540 -430 570
rect -1540 517 -1460 540
rect -1540 483 -1517 517
rect -1483 483 -1460 517
rect -1540 460 -1460 483
rect -1140 517 -1060 540
rect -1140 483 -1117 517
rect -1083 483 -1060 517
rect -1140 460 -1060 483
<< polycont >>
rect -487 1418 -453 1452
rect -587 1293 -553 1327
rect -787 1203 -753 1237
rect -2187 1093 -2153 1127
rect -2047 993 -2013 1027
rect -1267 1043 -1233 1077
rect -1897 913 -1863 947
rect -1367 918 -1333 952
rect -1517 483 -1483 517
rect -1117 483 -1083 517
<< locali >>
rect -2300 1577 -300 1600
rect -2300 1543 -2277 1577
rect -2243 1543 -2197 1577
rect -2163 1543 -2117 1577
rect -2083 1543 -2037 1577
rect -2003 1543 -1957 1577
rect -1923 1543 -1877 1577
rect -1843 1543 -1797 1577
rect -1763 1543 -1717 1577
rect -1683 1543 -1637 1577
rect -1603 1543 -1557 1577
rect -1523 1543 -1477 1577
rect -1443 1543 -1397 1577
rect -1363 1543 -1317 1577
rect -1283 1543 -1237 1577
rect -1203 1543 -1157 1577
rect -1123 1543 -1077 1577
rect -1043 1543 -997 1577
rect -963 1543 -917 1577
rect -883 1543 -837 1577
rect -803 1543 -757 1577
rect -723 1543 -677 1577
rect -643 1543 -597 1577
rect -563 1543 -517 1577
rect -483 1543 -437 1577
rect -403 1543 -357 1577
rect -323 1543 -300 1577
rect -2300 1520 -300 1543
rect -1790 1450 -1710 1470
rect -2290 1447 -1710 1450
rect -2290 1413 -1767 1447
rect -1733 1413 -1710 1447
rect -2290 1410 -1710 1413
rect -1790 1390 -1710 1410
rect -510 1452 -430 1475
rect -510 1418 -487 1452
rect -453 1418 -430 1452
rect -510 1395 -430 1418
rect -1910 1340 -1830 1360
rect -2290 1337 -1830 1340
rect -2290 1303 -1887 1337
rect -1853 1303 -1830 1337
rect -2290 1300 -1830 1303
rect -1910 1280 -1830 1300
rect -1640 1357 -1560 1390
rect -1640 1323 -1617 1357
rect -1583 1323 -1560 1357
rect -1640 1277 -1560 1323
rect -1790 1240 -1710 1260
rect -2290 1237 -1710 1240
rect -2290 1203 -1767 1237
rect -1733 1203 -1710 1237
rect -2290 1200 -1710 1203
rect -1790 1180 -1710 1200
rect -1640 1243 -1617 1277
rect -1583 1243 -1560 1277
rect -1640 1197 -1560 1243
rect -1640 1163 -1617 1197
rect -1583 1163 -1560 1197
rect -2290 1127 -2130 1150
rect -1640 1140 -1560 1163
rect -1490 1357 -1410 1390
rect -1490 1323 -1467 1357
rect -1433 1323 -1410 1357
rect -1490 1277 -1410 1323
rect -1490 1243 -1467 1277
rect -1433 1243 -1410 1277
rect -1490 1197 -1410 1243
rect -1490 1163 -1467 1197
rect -1433 1163 -1410 1197
rect -1490 1130 -1410 1163
rect -1340 1357 -1260 1390
rect -1340 1323 -1317 1357
rect -1283 1323 -1260 1357
rect -1340 1277 -1260 1323
rect -1340 1243 -1317 1277
rect -1283 1243 -1260 1277
rect -1340 1197 -1260 1243
rect -1340 1163 -1317 1197
rect -1283 1163 -1260 1197
rect -1340 1140 -1260 1163
rect -1190 1357 -1110 1390
rect -1190 1323 -1167 1357
rect -1133 1323 -1110 1357
rect -1190 1277 -1110 1323
rect -1190 1243 -1167 1277
rect -1133 1243 -1110 1277
rect -1190 1197 -1110 1243
rect -1190 1163 -1167 1197
rect -1133 1163 -1110 1197
rect -1190 1130 -1110 1163
rect -1040 1357 -960 1390
rect -1040 1323 -1017 1357
rect -983 1323 -960 1357
rect -1040 1277 -960 1323
rect -1040 1243 -1017 1277
rect -983 1243 -960 1277
rect -610 1327 -530 1350
rect -610 1293 -587 1327
rect -553 1293 -530 1327
rect -610 1270 -530 1293
rect -1040 1197 -960 1243
rect -1040 1163 -1017 1197
rect -983 1163 -960 1197
rect -810 1237 -730 1260
rect -810 1203 -787 1237
rect -753 1203 -730 1237
rect -810 1180 -730 1203
rect -1040 1140 -960 1163
rect -2290 1110 -2187 1127
rect -2210 1093 -2187 1110
rect -2153 1093 -2130 1127
rect -2210 1070 -2130 1093
rect -1470 1080 -1430 1130
rect -1290 1080 -1210 1100
rect -1470 1077 -1210 1080
rect -2070 1030 -1990 1050
rect -2290 1027 -1990 1030
rect -2290 993 -2047 1027
rect -2013 993 -1990 1027
rect -2290 990 -1990 993
rect -2070 970 -1990 990
rect -1470 1043 -1267 1077
rect -1233 1043 -1210 1077
rect -1470 1040 -1210 1043
rect -1920 947 -1840 970
rect -1920 930 -1897 947
rect -2290 913 -1897 930
rect -1863 913 -1840 947
rect -2290 890 -1840 913
rect -1470 910 -1430 1040
rect -1290 1020 -1210 1040
rect -1780 870 -1430 910
rect -1390 960 -1310 975
rect -1170 960 -1130 1130
rect -890 1080 -810 1100
rect -890 1077 -310 1080
rect -890 1043 -867 1077
rect -833 1043 -310 1077
rect -890 1040 -310 1043
rect -890 1020 -810 1040
rect -1390 952 -310 960
rect -1390 918 -1367 952
rect -1333 920 -310 952
rect -1333 918 -1310 920
rect -1390 895 -1310 918
rect -1780 830 -1740 870
rect -1470 830 -1430 870
rect -1170 830 -1130 920
rect -840 830 -800 920
rect -540 830 -500 920
rect -2270 797 -2190 830
rect -2270 763 -2247 797
rect -2213 763 -2190 797
rect -2270 717 -2190 763
rect -2270 683 -2247 717
rect -2213 683 -2190 717
rect -2270 637 -2190 683
rect -2270 603 -2247 637
rect -2213 603 -2190 637
rect -2270 580 -2190 603
rect -1820 797 -1740 830
rect -1820 763 -1797 797
rect -1763 763 -1740 797
rect -1820 717 -1740 763
rect -1820 683 -1797 717
rect -1763 683 -1740 717
rect -1820 637 -1740 683
rect -1820 603 -1797 637
rect -1763 603 -1740 637
rect -1820 580 -1740 603
rect -1640 797 -1560 830
rect -1640 763 -1617 797
rect -1583 763 -1560 797
rect -1640 717 -1560 763
rect -1640 683 -1617 717
rect -1583 683 -1560 717
rect -1640 637 -1560 683
rect -1640 603 -1617 637
rect -1583 603 -1560 637
rect -1640 580 -1560 603
rect -1490 797 -1410 830
rect -1490 763 -1467 797
rect -1433 763 -1410 797
rect -1490 717 -1410 763
rect -1490 683 -1467 717
rect -1433 683 -1410 717
rect -1490 637 -1410 683
rect -1490 603 -1467 637
rect -1433 603 -1410 637
rect -1490 580 -1410 603
rect -1340 797 -1260 830
rect -1340 763 -1317 797
rect -1283 763 -1260 797
rect -1340 717 -1260 763
rect -1340 683 -1317 717
rect -1283 683 -1260 717
rect -1340 637 -1260 683
rect -1340 603 -1317 637
rect -1283 603 -1260 637
rect -1340 580 -1260 603
rect -1190 797 -1110 830
rect -1190 763 -1167 797
rect -1133 763 -1110 797
rect -1190 717 -1110 763
rect -1190 683 -1167 717
rect -1133 683 -1110 717
rect -1190 637 -1110 683
rect -1190 603 -1167 637
rect -1133 603 -1110 637
rect -1190 580 -1110 603
rect -1040 797 -960 830
rect -1040 763 -1017 797
rect -983 763 -960 797
rect -1040 717 -960 763
rect -1040 683 -1017 717
rect -983 683 -960 717
rect -1040 637 -960 683
rect -1040 603 -1017 637
rect -983 603 -960 637
rect -1040 580 -960 603
rect -860 797 -780 830
rect -860 763 -837 797
rect -803 763 -780 797
rect -860 717 -780 763
rect -860 683 -837 717
rect -803 683 -780 717
rect -860 637 -780 683
rect -860 603 -837 637
rect -803 603 -780 637
rect -860 580 -780 603
rect -710 797 -630 830
rect -710 763 -687 797
rect -653 763 -630 797
rect -710 717 -630 763
rect -710 683 -687 717
rect -653 683 -630 717
rect -710 637 -630 683
rect -710 603 -687 637
rect -653 603 -630 637
rect -710 580 -630 603
rect -560 797 -480 830
rect -560 763 -537 797
rect -503 763 -480 797
rect -560 717 -480 763
rect -560 683 -537 717
rect -503 683 -480 717
rect -560 637 -480 683
rect -560 603 -537 637
rect -503 603 -480 637
rect -560 580 -480 603
rect -410 797 -330 830
rect -410 763 -387 797
rect -353 763 -330 797
rect -410 717 -330 763
rect -410 683 -387 717
rect -353 683 -330 717
rect -410 637 -330 683
rect -410 603 -387 637
rect -353 603 -330 637
rect -410 580 -330 603
rect -1540 520 -1460 540
rect -1140 520 -1060 540
rect -2290 517 -1060 520
rect -2290 483 -1517 517
rect -1483 483 -1117 517
rect -1083 483 -1060 517
rect -2290 480 -1060 483
rect -1540 460 -1460 480
rect -1140 460 -1060 480
rect -2300 397 -300 420
rect -2300 363 -2277 397
rect -2243 363 -2197 397
rect -2163 363 -2117 397
rect -2083 363 -2037 397
rect -2003 363 -1957 397
rect -1923 363 -1877 397
rect -1843 363 -1797 397
rect -1763 363 -1717 397
rect -1683 363 -1637 397
rect -1603 363 -1557 397
rect -1523 363 -1477 397
rect -1443 363 -1397 397
rect -1363 363 -1317 397
rect -1283 363 -1237 397
rect -1203 363 -1157 397
rect -1123 363 -1077 397
rect -1043 363 -997 397
rect -963 363 -917 397
rect -883 363 -837 397
rect -803 363 -757 397
rect -723 363 -677 397
rect -643 363 -597 397
rect -563 363 -517 397
rect -483 363 -437 397
rect -403 363 -357 397
rect -323 363 -300 397
rect -2300 340 -300 363
<< viali >>
rect -2277 1543 -2243 1577
rect -2197 1543 -2163 1577
rect -2117 1543 -2083 1577
rect -2037 1543 -2003 1577
rect -1957 1543 -1923 1577
rect -1877 1543 -1843 1577
rect -1797 1543 -1763 1577
rect -1717 1543 -1683 1577
rect -1637 1543 -1603 1577
rect -1557 1543 -1523 1577
rect -1477 1543 -1443 1577
rect -1397 1543 -1363 1577
rect -1317 1543 -1283 1577
rect -1237 1543 -1203 1577
rect -1157 1543 -1123 1577
rect -1077 1543 -1043 1577
rect -997 1543 -963 1577
rect -917 1543 -883 1577
rect -837 1543 -803 1577
rect -757 1543 -723 1577
rect -677 1543 -643 1577
rect -597 1543 -563 1577
rect -517 1543 -483 1577
rect -437 1543 -403 1577
rect -357 1543 -323 1577
rect -1767 1413 -1733 1447
rect -487 1418 -453 1452
rect -1887 1303 -1853 1337
rect -1617 1323 -1583 1357
rect -1767 1203 -1733 1237
rect -1617 1243 -1583 1277
rect -1617 1163 -1583 1197
rect -1317 1323 -1283 1357
rect -1317 1243 -1283 1277
rect -1317 1163 -1283 1197
rect -1017 1323 -983 1357
rect -1017 1243 -983 1277
rect -587 1293 -553 1327
rect -1017 1163 -983 1197
rect -787 1203 -753 1237
rect -1267 1043 -1233 1077
rect -867 1043 -833 1077
rect -2247 763 -2213 797
rect -2247 683 -2213 717
rect -2247 603 -2213 637
rect -1617 763 -1583 797
rect -1617 683 -1583 717
rect -1617 603 -1583 637
rect -1317 763 -1283 797
rect -1317 683 -1283 717
rect -1317 603 -1283 637
rect -1017 763 -983 797
rect -1017 683 -983 717
rect -1017 603 -983 637
rect -687 763 -653 797
rect -687 683 -653 717
rect -687 603 -653 637
rect -387 763 -353 797
rect -387 683 -353 717
rect -387 603 -353 637
rect -2277 363 -2243 397
rect -2197 363 -2163 397
rect -2117 363 -2083 397
rect -2037 363 -2003 397
rect -1957 363 -1923 397
rect -1877 363 -1843 397
rect -1797 363 -1763 397
rect -1717 363 -1683 397
rect -1637 363 -1603 397
rect -1557 363 -1523 397
rect -1477 363 -1443 397
rect -1397 363 -1363 397
rect -1317 363 -1283 397
rect -1237 363 -1203 397
rect -1157 363 -1123 397
rect -1077 363 -1043 397
rect -997 363 -963 397
rect -917 363 -883 397
rect -837 363 -803 397
rect -757 363 -723 397
rect -677 363 -643 397
rect -597 363 -563 397
rect -517 363 -483 397
rect -437 363 -403 397
rect -357 363 -323 397
<< metal1 >>
rect -2300 1577 -300 1610
rect -2300 1543 -2277 1577
rect -2243 1543 -2197 1577
rect -2163 1543 -2117 1577
rect -2083 1543 -2037 1577
rect -2003 1543 -1957 1577
rect -1923 1543 -1877 1577
rect -1843 1543 -1797 1577
rect -1763 1543 -1717 1577
rect -1683 1543 -1637 1577
rect -1603 1543 -1557 1577
rect -1523 1543 -1477 1577
rect -1443 1543 -1397 1577
rect -1363 1543 -1317 1577
rect -1283 1543 -1237 1577
rect -1203 1543 -1157 1577
rect -1123 1543 -1077 1577
rect -1043 1543 -997 1577
rect -963 1543 -917 1577
rect -883 1543 -837 1577
rect -803 1543 -757 1577
rect -723 1543 -677 1577
rect -643 1543 -597 1577
rect -563 1543 -517 1577
rect -483 1543 -437 1577
rect -403 1543 -357 1577
rect -323 1543 -300 1577
rect -2300 1510 -300 1543
rect -2250 830 -2210 1510
rect -1790 1456 -1710 1470
rect -1790 1404 -1776 1456
rect -1724 1404 -1710 1456
rect -1790 1390 -1710 1404
rect -1910 1346 -1830 1360
rect -1910 1294 -1896 1346
rect -1844 1294 -1830 1346
rect -1910 1280 -1830 1294
rect -1640 1357 -1560 1510
rect -1640 1323 -1617 1357
rect -1583 1323 -1560 1357
rect -1640 1277 -1560 1323
rect -1790 1246 -1710 1260
rect -1790 1194 -1776 1246
rect -1724 1194 -1710 1246
rect -1790 1180 -1710 1194
rect -1640 1243 -1617 1277
rect -1583 1243 -1560 1277
rect -1640 1197 -1560 1243
rect -1640 1163 -1617 1197
rect -1583 1163 -1560 1197
rect -1640 1140 -1560 1163
rect -1340 1357 -1260 1510
rect -1340 1323 -1317 1357
rect -1283 1323 -1260 1357
rect -1340 1277 -1260 1323
rect -1340 1243 -1317 1277
rect -1283 1243 -1260 1277
rect -1340 1197 -1260 1243
rect -1340 1163 -1317 1197
rect -1283 1163 -1260 1197
rect -1340 1140 -1260 1163
rect -1040 1357 -960 1510
rect -1040 1323 -1017 1357
rect -983 1323 -960 1357
rect -1040 1277 -960 1323
rect -1040 1243 -1017 1277
rect -983 1243 -960 1277
rect -1040 1197 -960 1243
rect -1040 1163 -1017 1197
rect -983 1163 -960 1197
rect -810 1246 -730 1260
rect -810 1194 -796 1246
rect -744 1194 -730 1246
rect -810 1180 -730 1194
rect -1040 1140 -960 1163
rect -1290 1080 -1210 1100
rect -890 1080 -810 1100
rect -1290 1077 -810 1080
rect -1290 1043 -1267 1077
rect -1233 1043 -867 1077
rect -833 1043 -810 1077
rect -1290 1040 -810 1043
rect -1290 1020 -1210 1040
rect -890 1020 -810 1040
rect -690 830 -650 1510
rect -510 1461 -430 1475
rect -510 1409 -496 1461
rect -444 1409 -430 1461
rect -510 1395 -430 1409
rect -610 1336 -530 1350
rect -610 1284 -596 1336
rect -544 1284 -530 1336
rect -610 1270 -530 1284
rect -390 830 -350 1510
rect -2270 797 -2190 830
rect -2270 763 -2247 797
rect -2213 763 -2190 797
rect -2270 717 -2190 763
rect -2270 683 -2247 717
rect -2213 683 -2190 717
rect -2270 637 -2190 683
rect -2270 603 -2247 637
rect -2213 603 -2190 637
rect -2270 580 -2190 603
rect -1640 797 -1560 830
rect -1640 763 -1617 797
rect -1583 763 -1560 797
rect -1640 717 -1560 763
rect -1640 683 -1617 717
rect -1583 683 -1560 717
rect -1640 637 -1560 683
rect -1640 603 -1617 637
rect -1583 603 -1560 637
rect -1640 580 -1560 603
rect -1340 797 -1260 830
rect -1340 763 -1317 797
rect -1283 763 -1260 797
rect -1340 717 -1260 763
rect -1340 683 -1317 717
rect -1283 683 -1260 717
rect -1340 637 -1260 683
rect -1340 603 -1317 637
rect -1283 603 -1260 637
rect -1340 580 -1260 603
rect -1040 797 -960 830
rect -1040 763 -1017 797
rect -983 763 -960 797
rect -1040 717 -960 763
rect -1040 683 -1017 717
rect -983 683 -960 717
rect -1040 637 -960 683
rect -1040 603 -1017 637
rect -983 603 -960 637
rect -1040 580 -960 603
rect -710 797 -630 830
rect -710 763 -687 797
rect -653 763 -630 797
rect -710 717 -630 763
rect -710 683 -687 717
rect -653 683 -630 717
rect -710 637 -630 683
rect -710 603 -687 637
rect -653 603 -630 637
rect -710 580 -630 603
rect -410 797 -330 830
rect -410 763 -387 797
rect -353 763 -330 797
rect -410 717 -330 763
rect -410 683 -387 717
rect -353 683 -330 717
rect -410 637 -330 683
rect -410 603 -387 637
rect -353 603 -330 637
rect -410 580 -330 603
rect -1620 430 -1580 580
rect -1320 430 -1280 580
rect -1020 430 -980 580
rect -2300 397 -300 430
rect -2300 363 -2277 397
rect -2243 363 -2197 397
rect -2163 363 -2117 397
rect -2083 363 -2037 397
rect -2003 363 -1957 397
rect -1923 363 -1877 397
rect -1843 363 -1797 397
rect -1763 363 -1717 397
rect -1683 363 -1637 397
rect -1603 363 -1557 397
rect -1523 363 -1477 397
rect -1443 363 -1397 397
rect -1363 363 -1317 397
rect -1283 363 -1237 397
rect -1203 363 -1157 397
rect -1123 363 -1077 397
rect -1043 363 -997 397
rect -963 363 -917 397
rect -883 363 -837 397
rect -803 363 -757 397
rect -723 363 -677 397
rect -643 363 -597 397
rect -563 363 -517 397
rect -483 363 -437 397
rect -403 363 -357 397
rect -323 363 -300 397
rect -2300 330 -300 363
<< via1 >>
rect -1776 1447 -1724 1456
rect -1776 1413 -1767 1447
rect -1767 1413 -1733 1447
rect -1733 1413 -1724 1447
rect -1776 1404 -1724 1413
rect -1896 1337 -1844 1346
rect -1896 1303 -1887 1337
rect -1887 1303 -1853 1337
rect -1853 1303 -1844 1337
rect -1896 1294 -1844 1303
rect -1776 1237 -1724 1246
rect -1776 1203 -1767 1237
rect -1767 1203 -1733 1237
rect -1733 1203 -1724 1237
rect -1776 1194 -1724 1203
rect -796 1237 -744 1246
rect -796 1203 -787 1237
rect -787 1203 -753 1237
rect -753 1203 -744 1237
rect -796 1194 -744 1203
rect -496 1452 -444 1461
rect -496 1418 -487 1452
rect -487 1418 -453 1452
rect -453 1418 -444 1452
rect -496 1409 -444 1418
rect -596 1327 -544 1336
rect -596 1293 -587 1327
rect -587 1293 -553 1327
rect -553 1293 -544 1327
rect -596 1284 -544 1293
<< metal2 >>
rect -1790 1456 -1710 1470
rect -1790 1404 -1776 1456
rect -1724 1450 -1710 1456
rect -510 1461 -430 1475
rect -510 1450 -496 1461
rect -1724 1410 -496 1450
rect -1724 1404 -1710 1410
rect -1790 1390 -1710 1404
rect -510 1409 -496 1410
rect -444 1409 -430 1461
rect -510 1395 -430 1409
rect -1910 1346 -1830 1360
rect -1910 1294 -1896 1346
rect -1844 1340 -1830 1346
rect -610 1340 -530 1350
rect -1844 1336 -530 1340
rect -1844 1300 -596 1336
rect -1844 1294 -1830 1300
rect -1910 1280 -1830 1294
rect -610 1284 -596 1300
rect -544 1284 -530 1336
rect -610 1270 -530 1284
rect -1790 1246 -1710 1260
rect -1790 1194 -1776 1246
rect -1724 1240 -1710 1246
rect -810 1246 -730 1260
rect -810 1240 -796 1246
rect -1724 1200 -796 1240
rect -1724 1194 -1710 1200
rect -1790 1180 -1710 1194
rect -810 1194 -796 1200
rect -744 1194 -730 1246
rect -810 1180 -730 1194
<< labels >>
rlabel metal1 s -1270 1040 -1230 1080 4 OUT_bar
port 1 nsew
rlabel metal1 s -1320 360 -1280 400 4 GND!
port 2 nsew
rlabel metal1 s -1320 1540 -1280 1580 4 CLK
port 3 nsew
rlabel locali s -1370 915 -1330 955 4 OUT
port 4 nsew
rlabel locali s -2280 1420 -2260 1440 4 A
port 5 nsew
rlabel locali s -2280 1120 -2260 1140 4 A_bar
port 6 nsew
rlabel locali s -2280 1310 -2260 1330 4 B
port 7 nsew
rlabel locali s -2280 1000 -2260 1020 4 B_bar
port 8 nsew
rlabel locali s -2280 1210 -2260 1230 4 C
port 9 nsew
rlabel locali s -2280 900 -2260 920 4 C_bar
port 10 nsew
rlabel locali s -1520 480 -1480 520 4 Dis
port 11 nsew
<< end >>

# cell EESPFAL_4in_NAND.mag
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
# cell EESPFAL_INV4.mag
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
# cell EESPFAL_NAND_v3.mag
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
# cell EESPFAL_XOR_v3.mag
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
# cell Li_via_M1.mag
magic
tech sky130A
magscale 1 2
<< locali >>
rect -40 19 40 42
rect -40 -15 -17 19
rect 17 -15 40 19
rect -40 -38 40 -15
<< viali >>
rect -17 -15 17 19
<< metal1 >>
rect -40 19 40 42
rect -40 -15 -17 19
rect 17 -15 40 19
rect -40 -38 40 -15
<< end >>

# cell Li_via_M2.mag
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
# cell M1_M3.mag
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
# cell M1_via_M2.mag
magic
tech sky130A
<< metal1 >>
rect -20 14 20 21
rect -20 -12 -13 14
rect 13 -12 20 14
rect -20 -19 20 -12
<< via1 >>
rect -13 -12 13 14
<< metal2 >>
rect -20 14 20 21
rect -20 -12 -13 14
rect 13 -12 20 14
rect -20 -19 20 -12
<< end >>
